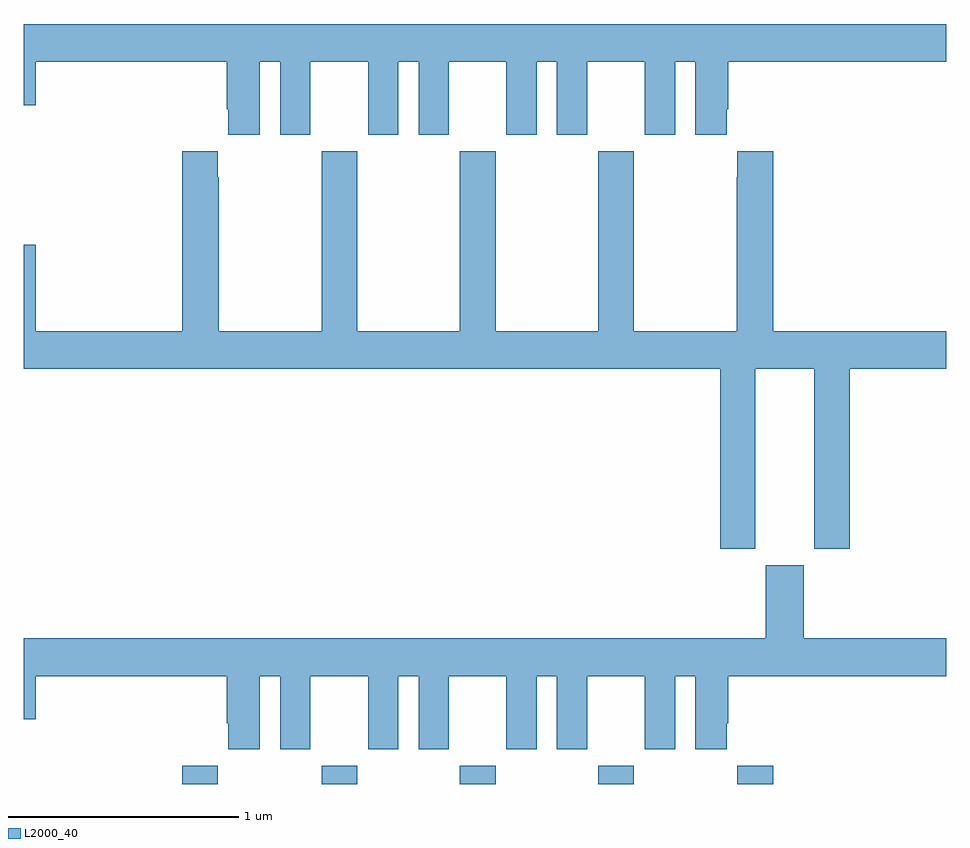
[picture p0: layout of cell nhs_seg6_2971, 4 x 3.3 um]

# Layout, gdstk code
import gdstk
lib = gdstk.Library(unit=1e-6, precision=1e-09)
def R(c, l, rs):  # rectangles x0, y0, x1, y1
    for r in rs: c.add(gdstk.rectangle(r[:2], r[2:], *l))
def A(c, l, x, y, w, h, nx, ny, dx, dy):  # array of equal rectangles
    R(c, l, [(x+i*dx, y+j*dy, x+i*dx+w, y+j*dy+h) for i in range(nx) for j in range(ny)])
def P(c, l, *ps):  # polygons
    for p in ps: c.add(gdstk.Polygon(p, *l))
L2000_40 = (2000, 40)

nhs_seg6_2971 = lib.new_cell('nhs_seg6_2971')
A(nhs_seg6_2971, L2000_40, 286.291, 981.5, 0.155, 0.08, 3, 1, 0.6, 0)
R(nhs_seg6_2971, L2000_40, [(285.686,981.5,285.841,981.58), (288.095,981.5,288.251,981.58)])
P(nhs_seg6_2971, L2000_40, [(286.024,984.632),(286.112,984.632),(286.112,984.315),(286.243,984.315),(286.243,984.632),(286.493,984.632),(286.493,984.315),(286.624,984.315),(286.624,984.632),(286.712,984.632),(286.712,984.315),(286.843,984.315),(286.843,984.632),(287.093,984.632),(287.093,984.315),(287.224,984.315),(287.224,984.632),(287.312,984.632),(287.312,984.315),(287.443,984.315),(287.443,984.632),(287.693,984.632),(287.693,984.315),(287.824,984.315),(287.824,984.632),(287.912,984.632),(287.912,984.315),(288.049,984.315),(288.049,984.427),(288.056,984.427),(288.056,984.632),(289,984.632),(289,984.796),(285,984.796),(285,984.444),(285.052,984.444),(285.052,984.632),(285.881,984.632),(285.881,984.427),(285.887,984.427),(285.887,984.315),(286.024,984.315)],
  [(288.172,983.3),(288.428,983.3),(288.428,982.521),(288.581,982.521),(288.581,983.3),(289,983.3),(289,983.464),(288.251,983.464),(288.251,984.244),(288.095,984.244),(288.095,984.131),(288.091,984.131),(288.091,983.464),(287.646,983.464),(287.646,984.244),(287.491,984.244),(287.491,983.464),(287.046,983.464),(287.046,984.244),(286.891,984.244),(286.891,983.464),(286.446,983.464),(286.446,984.244),(286.291,984.244),(286.291,983.464),(285.846,983.464),(285.846,984.131),(285.841,984.131),(285.841,984.244),(285.686,984.244),(285.686,983.464),(285.052,983.464),(285.052,983.839),(285,983.839),(285,983.3),(288.02,983.3),(288.02,982.521),(288.172,982.521)],
  [(285,981.78),(285.052,981.78),(285.052,981.968),(285.881,981.968),(285.881,981.763),(285.887,981.763),(285.887,981.651),(286.024,981.651),(286.024,981.968),(286.112,981.968),(286.112,981.651),(286.243,981.651),(286.243,981.968),(286.493,981.968),(286.493,981.651),(286.624,981.651),(286.624,981.968),(286.712,981.968),(286.712,981.651),(286.843,981.651),(286.843,981.968),(287.093,981.968),(287.093,981.651),(287.224,981.651),(287.224,981.968),(287.312,981.968),(287.312,981.651),(287.443,981.651),(287.443,981.968),(287.693,981.968),(287.693,981.651),(287.824,981.651),(287.824,981.968),(287.912,981.968),(287.912,981.651),(288.049,981.651),(288.049,981.763),(288.056,981.763),(288.056,981.968),(289,981.968),(289,982.132),(288.382,982.132),(288.382,982.449),(288.218,982.449),(288.218,982.132),(285,982.132)])

lib.write_gds('nhs_seg6_2971.gds')
